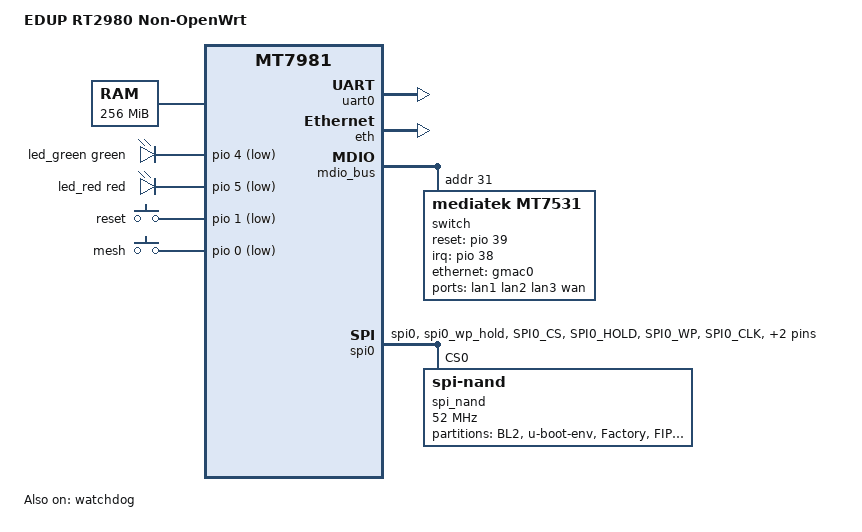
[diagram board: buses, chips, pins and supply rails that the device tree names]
// SPDX-License-Identifier: GPL-2.0-only OR MIT
/dts-v1/;

#include <dt-bindings/gpio/gpio.h>
#include <dt-bindings/input/input.h>
#include <dt-bindings/leds/common.h>

#include "mt7981.dtsi"

/ {
	model = "EDUP RT2980 Non-OpenWrt";
	compatible = "edup,rt2980n", "mediatek,mt7981";

	aliases {
		serial0 = &uart0;
		label-mac-device = &gmac0;

		led-boot = &led_status_red;
		led-failsafe = &led_status_red;
		led-running = &led_status_green;
		led-upgrade = &led_status_green;
	};

	chosen {
		stdout-path = "serial0:115200n8";
		bootargs = "console=ttyS0,115200n1 loglevel=8 earlycon=uart8250,mmio32,0x11002000,root=/dev/fit0";
	};

	memory {
		reg = <0 0x40000000 0 0x10000000>;
	};

	leds {
		compatible = "gpio-leds";

		led_status_green: green {
			label = "led_green";
			gpios = <&pio 4 GPIO_ACTIVE_LOW>;
			function = LED_FUNCTION_STATUS;
			color = <LED_COLOR_ID_GREEN>;
			trigger-sources = "timer";
			default-state = "on";
		};

		led_status_red: red {
			label = "led_red";
			gpios = <&pio 5 GPIO_ACTIVE_LOW>;
			function = LED_FUNCTION_STATUS;
			color = <LED_COLOR_ID_RED>;
		};
	};

	gpio-keys {
		compatible = "gpio-keys";

		reset {
			label = "reset";
			linux,code = <KEY_RESTART>;
			gpios = <&pio 1 GPIO_ACTIVE_LOW>;
			debounce-interval = <60>;
		};

		mesh {
			label = "mesh";
			gpios = <&pio 0 GPIO_ACTIVE_LOW>;
			linux,code = <BTN_9>; /* This might need to be mapped to an appropriate OpenWrt key code if BTN_9 is not standard */
			linux,input-type = <EV_SW>;
			debounce-interval = <60>;
		};
	};

	/*
	 * The Immortalwrt DTS uses a "generic,nmbm" node to wrap the SPI NAND
	 * partitions. OpenWrt typically defines partitions directly under the
	 * spi-nand node using "fixed-partitions". We will adopt the OpenWrt
	 * approach and define the partitions directly under spi_nand.
	 *
	 * The partition layout from Immortalwrt is preserved, but adjusted
	 * to fit the OpenWrt "fixed-partitions" structure.
	 */
};

&uart0 {
	status = "okay";
};

&watchdog {
	status = "okay";
};

&eth {
	status = "okay";

	gmac0: mac@0 {
		compatible = "mediatek,eth-mac";
		reg = <0>;
		phy-mode = "2500base-x";
		fixed-link {
			speed = <2500>;
			full-duplex;
			pause;
		};
	};

	gmac1: mac@1 {
		compatible = "mediatek,eth-mac";
		reg = <1>;
		phy-mode = "gmii";
		/* In OpenWrt, the PHY connection is typically defined in the switch node */
		phy-handle = <&int_gbe_phy>;
	};

	mdio: mdio-bus {
		compatible = "mediatek,ethsys-mdio";
		#address-cells = <1>;
		#size-cells = <1>;

		/*
		 * The phy0 definition in Immortalwrt seems to be a direct PHY
		 * node. In OpenWrt with DSA, PHYs are often managed by the switch
		 * driver or defined under the MDIO bus if directly accessible
		 * and needed for specific properties like calibration data.
		 * We will define the switch under the mdio-bus as seen in the
		 * OpenWrt template and link the PHY to the switch port if necessary.
		 */
	};
};

/*
 * The Immortalwrt DTS defines a "gsw" node compatible with "mediatek,mt753x".
 * The OpenWrt template uses "mediatek,mt7531" compatible with a "switch" node
 * under the "mdio_bus". We will adopt the OpenWrt style and define the switch
 * node under the mdio-bus with the appropriate compatible string and properties.
 */
&mdio_bus {
	switch: switch@1f {
		compatible = "mediatek,mt7531"; /* Assuming MT7531 based on common usage with MT7981b */
		reg = <0x1f>;
		/* Reset GPIO polarity might differ, check board schematics if possible. Assuming ACTIVE_HIGH based on template */
		reset-gpios = <&pio 39 GPIO_ACTIVE_HIGH>;
		interrupt-controller;
		#interrupt-cells = <1>;
		interrupt-parent = <&pio>;
		interrupts = <38 IRQ_TYPE_LEVEL_HIGH>;
		status = "okay";

		ports {
			#address-cells = <1>;
			#size-cells = <0>;

			port@0 {
				reg = <0>;
				label = "lan1";
			};

			port@1 {
				reg = <1>;
				label = "lan2";
			};

			port@2 {
				reg = <2>;
				label = "lan3";
			};

			wan: port@3 {
				reg = <3>;
				label = "wan";
				/* MAC address from factory if available */
				nvmem-cell-names = "mac-address";
				nvmem-cells = <&macaddr_factory_4 (-2)>;
			};

			port@6 {
				reg = <6>;
				ethernet = <&gmac0>;
				phy-mode = "2500base-x";

				fixed-link {
					speed = <2500>;
					full-duplex;
					pause;
				};
			};
		};
	};
};

&spi0 {
	pinctrl-names = "default";
	pinctrl-0 = <&spi0_flash_pins>;
	status = "okay";

	spi_nand: spi_nand@0 {
		#address-cells = <1>;
		#size-cells = <1>;
		compatible = "spi-nand";
		reg = <0>;

		spi-max-frequency = <52000000>;
		spi-tx-bus-width = <4>;
		spi-rx-bus-width = <4>;

		spi-cal-enable;
		spi-cal-mode = "read-data";
		spi-cal-datalen = <7>;
		spi-cal-data = /bits/ 8 <0x53 0x50 0x49 0x4e 0x41 0x4e 0x44>;
		spi-cal-addrlen = <5>;
		spi-cal-addr = /bits/ 32 <0x0 0x0 0x0 0x0 0x0>;

		/* ESMT F50L1G41LB (128M) */
		partitions: partitions {
			compatible = "fixed-partitions";
			#address-cells = <1>;
			#size-cells = <1>;

			partition@0 {
				label = "BL2";
				reg = <0x00 0x100000>;
				read-only;
			};

			partition@100000 {
				label = "u-boot-env";
				reg = <0x100000 0x80000>;
			};

			partition@180000 {
				label = "Factory";
				reg = <0x180000 0x200000>;
				read-only;

				nvmem-layout {
					compatible = "fixed-layout";
					#address-cells = <1>;
					#size-cells = <1>;

					macaddr_factory_4: macaddr@4 {
						compatible = "mac-base";
						reg = <0x4 0x6>;
						#nvmem-cell-cells = <1>;
					};
				};
			};

			partition@380000 {
				label = "FIP";
				reg = <0x380000 0x200000>;
				read-only;
			};

			partition@580000 {
				label = "ubi";
				reg = <0x0580000 0x4000000>;
				compatible = "linux,ubi";

				volumes {
					ubi_rootdisk: ubi-volume-fit {
						volname = "fit";
					};
				};
			};

			/*
			 * Porting additional partitions.
			 * These seem specific and might need further investigation for their purpose
			 * and whether they are necessary or handled differently in OpenWrt.
			 * Adding them as-is for now, but they might need adjustments or removal.
			 */
			partition@4580000 {
				label = "pdt_data";
				reg = <0x4580000 0x0600000>;
				read-only;
			};

			partition@4b80000 {
				label = "pdt_data_1";
				reg = <0x4b80000 0x0600000>;
				read-only;
			};

			partition@5180000 {
				label = "exp";
				reg = <0x5180000 0x100000>;
			};

			partition@5280000 {
				label = "plugin";
				reg = <0x5280000 0x2580000>;
			};
		};
	};
};

&pio {
	spi0_flash_pins: spi0-pins {
		mux {
			function = "spi";
			groups = "spi0", "spi0_wp_hold";
		};

		conf-pu {
			pins = "SPI0_CS", "SPI0_HOLD", "SPI0_WP";
			drive-strength = <MTK_DRIVE_8mA>;
			bias-pull-up = <MTK_PUPD_SET_R1R0_11>;
		};

		conf-pd {
			pins = "SPI0_CLK", "SPI0_MOSI", "SPI0_MISO";
			drive-strength = <MTK_DRIVE_8mA>;
			bias-pull-down = <MTK_PUPD_SET_R1R0_11>;
		};
	};
};
/*
&wifi {
	status = "okay";
	mediatek,mtd-eeprom = <&factory 0x0>;
};
*/
/*
 * The Immortalwrt DTS includes an &hnat node. This is related to hardware
 * NAT acceleration. While OpenWrt supports this, the configuration might
 * be handled differently or enabled via kernel modules and settings rather
 * than directly in the DTS in all cases. We will omit this node for now
 * as it's not present in the basic OpenWrt template and might require
 * specific OpenWrt subsystem knowledge to port correctly.
 */
